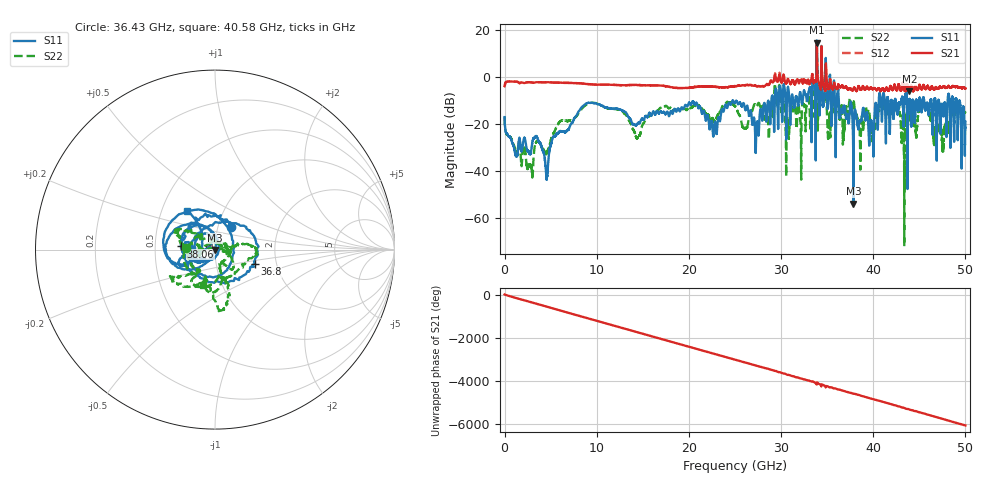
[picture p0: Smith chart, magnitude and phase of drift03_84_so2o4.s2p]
!Created with skrf (http://scikit-rf.org).
# Hz S RI R 50.0
!freq ReS11 ImS11 ReS21 ImS21 ReS12 ImS12 ReS22 ImS22
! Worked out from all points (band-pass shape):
!   10001 points, 300 kHz to 50 GHz, reference 50 ohm
!   highest |S21| = 14.54 dB at 33.88 GHz (marker M1); lowest = -6.3 dB at 43.92 GHz (marker M2)
!   |S21| within 3 dB of the highest: 33.86903 GHz to 33.88809 GHz (19.06 MHz wide, 0.0563 % of centre); 34.37664 GHz to 34.38845 GHz (11.81 MHz wide, 0.0344 % of centre)
!   lowest |S11| = -54.1 dB at 37.85 GHz (marker M3), VSWR 1.00, Z = 49.9 - j0.171 ohm
!   |S11| at or under -10 dB: start of sweep to 28.94 GHz; 36.27 GHz to 40.6 GHz (4.334 GHz wide, 11.3 % of centre); 47.09 GHz to 48.08 GHz (989.5 MHz wide, 2.08 % of centre) (the widest 3 of 64)
!   |S22| runs from -72.2 to 11.4 dB; largest |S21 - S12| = 0.82
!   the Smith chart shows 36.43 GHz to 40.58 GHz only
!   S11 on the Smith chart (normalised r, x): 36.43 GHz: 1.15, +0.30; 36.8 GHz: 1.54, -0.26; 38.06 GHz: 0.68, +0.03; 40.58 GHz: 0.67, +0.31
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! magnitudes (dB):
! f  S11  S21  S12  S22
! 300 kHz  -17.2  -4.0  -4.1  -16.9
! 2.825 GHz  -32.4  -2.4  -2.4  -37.8
! 4.555 GHz  -43.8  -2.3  -2.3  -32.4
! 8.335 GHz  -13.1  -2.8  -2.8  -13.9
! 14.45 GHz  -19.9  -3.5  -3.5  -25.8
! 16.67 GHz  -15.4  -3.7  -3.7  -14.2
! 22.82 GHz  -19.2  -4.3  -4.3  -19.2
! 25 GHz  -11.0  -4.0  -4.0  -12.5
! 26.09 GHz  -13.7  -3.6  -3.6  -21.9
! 27.39 GHz  -19.4  -4.1  -4.1  -12.4
! 29.6 GHz  -10.4  -2.0  -2.1  -11.7
! 30.7 GHz  -5.5  -1.3  -1.4  -17.1
! 33.34 GHz  -14.2  -0.4  -0.5  -6.9
! 33.88 GHz  15.5  14.5  14.2  11.1
! 36.43 GHz  -16.3  -4.3  -4.3  -15.9
! 36.8 GHz  -12.6  -4.7  -4.7  -21.0
! 37.85 GHz  -54.1  -5.4  -5.4  -10.7
! 38.06 GHz  -14.4  -5.4  -5.3  -16.8
! 40.58 GHz  -11.5  -4.9  -4.9  -13.7
! 41.67 GHz  -12.2  -5.9  -5.9  -14.9
! 43.92 GHz  -10.0  -6.3  -6.1  -16.9
! 50 GHz  -19.1  -4.9  -4.9  -15.0
